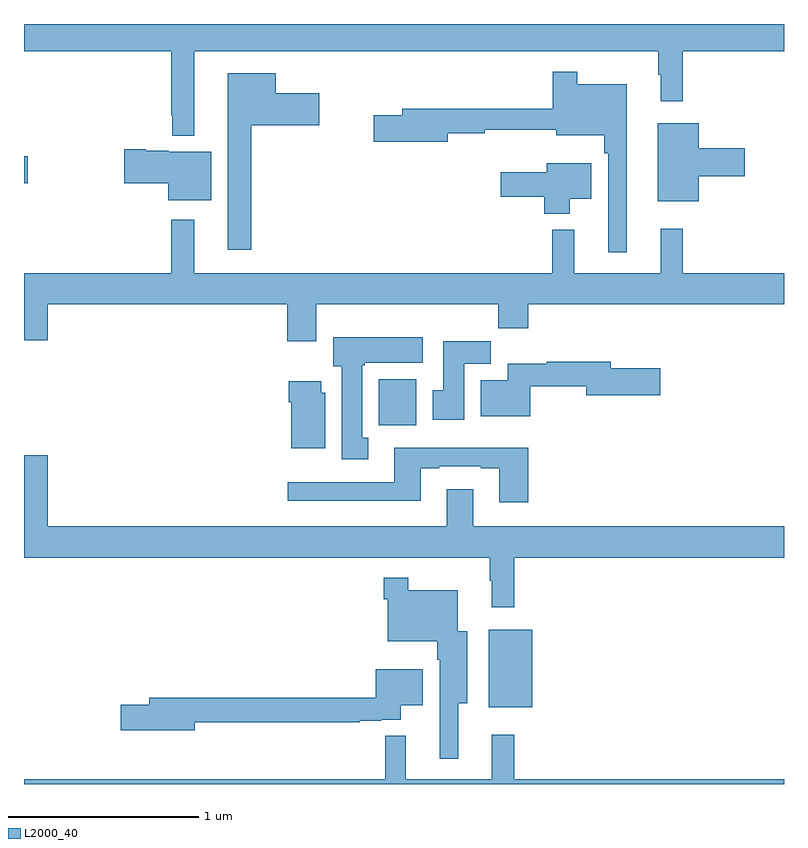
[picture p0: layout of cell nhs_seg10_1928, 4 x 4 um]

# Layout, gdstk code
import gdstk
lib = gdstk.Library(unit=1e-6, precision=1e-09)
def R(c, l, rs):  # rectangles x0, y0, x1, y1
    for r in rs: c.add(gdstk.rectangle(r[:2], r[2:], *l))
def P(c, l, *ps):  # polygons
    for p in ps: c.add(gdstk.Polygon(p, *l))
L2000_40 = (2000, 40)

nhs_seg10_1928 = lib.new_cell('nhs_seg10_1928')
R(nhs_seg10_1928, L2000_40, [(215.447,1256.903,215.674,1257.313), (214.868,1258.388,215.065,1258.63), (213,1259.662,213.019,1259.804)])
P(nhs_seg10_1928, L2000_40, [(213.895,1260.356),(216.339,1260.356),(216.339,1260.233),(216.35,1260.233),(216.35,1260.093),(216.467,1260.093),(216.467,1260.356),(217,1260.356),(217,1260.5),(213,1260.5),(213,1260.356),(213.774,1260.356),(213.774,1260.019),(213.781,1260.019),(213.781,1259.912),(213.895,1259.912)],
  [(216.172,1260.184),(215.911,1260.184),(215.911,1260.25),(215.782,1260.25),(215.782,1260.055),(214.991,1260.055),(214.991,1260.021),(214.842,1260.021),(214.842,1259.879),(215.23,1259.879),(215.23,1259.926),(215.426,1259.926),(215.426,1259.944),(215.801,1259.944),(215.801,1259.915),(216.055,1259.915),(216.055,1259.819),(216.075,1259.819),(216.075,1259.298),(216.172,1259.298)],
  [(214.195,1259.966),(214.555,1259.966),(214.555,1260.136),(214.324,1260.136),(214.324,1260.241),(214.073,1260.241),(214.073,1259.313),(214.195,1259.313)],
  [(216.55,1259.699),(216.793,1259.699),(216.793,1259.846),(216.55,1259.846),(216.55,1259.977),(216.335,1259.977),(216.335,1259.567),(216.55,1259.567)],
  [(213.985,1259.827),(213.762,1259.827),(213.762,1259.833),(213.64,1259.833),(213.64,1259.84),(213.528,1259.84),(213.528,1259.662),(213.758,1259.662),(213.758,1259.573),(213.985,1259.573)],
  [(215.872,1259.579),(215.986,1259.579),(215.986,1259.767),(215.75,1259.767),(215.75,1259.719),(215.508,1259.719),(215.508,1259.59),(215.738,1259.59),(215.738,1259.501),(215.872,1259.501)],
  [(214.537,1259.024),(215.497,1259.024),(215.497,1258.9),(215.654,1258.9),(215.654,1259.024),(217,1259.024),(217,1259.188),(216.467,1259.188),(216.467,1259.422),(216.35,1259.422),(216.35,1259.188),(215.897,1259.188),(215.897,1259.416),(215.779,1259.416),(215.779,1259.188),(213.895,1259.188),(213.895,1259.47),(213.774,1259.47),(213.774,1259.188),(213,1259.188),(213,1258.836),(213.124,1258.836),(213.124,1259.024),(214.385,1259.024),(214.385,1258.83),(214.537,1258.83)],
  [(214.813,1258.322),(214.78,1258.322),(214.78,1258.705),(214.794,1258.705),(214.794,1258.718),(215.098,1258.718),(215.098,1258.852),(214.628,1258.852),(214.628,1258.698),(214.673,1258.698),(214.673,1258.209),(214.813,1258.209)],
  [(215.317,1258.712),(215.456,1258.712),(215.456,1258.831),(215.207,1258.831),(215.207,1258.572),(215.15,1258.572),(215.15,1258.416),(215.317,1258.416)],
  [(215.664,1258.594),(215.96,1258.594),(215.96,1258.547),(216.349,1258.547),(216.349,1258.689),(216.088,1258.689),(216.088,1258.723),(215.752,1258.723),(215.752,1258.712),(215.546,1258.712),(215.546,1258.624),(215.405,1258.624),(215.405,1258.436),(215.664,1258.436)],
  [(214.585,1258.56),(214.564,1258.56),(214.564,1258.621),(214.394,1258.621),(214.394,1258.508),(214.406,1258.508),(214.406,1258.268),(214.585,1258.268)],
  [(215.654,1258.27),(214.949,1258.27),(214.949,1258.089),(214.389,1258.089),(214.389,1257.992),(215.089,1257.992),(215.089,1258.161),(215.185,1258.161),(215.185,1258.173),(215.405,1258.173),(215.405,1258.161),(215.501,1258.161),(215.501,1257.984),(215.654,1257.984)],
  [(215.579,1257.692),(217,1257.692),(217,1257.856),(215.365,1257.856),(215.365,1258.051),(215.225,1258.051),(215.225,1257.856),(213.124,1257.856),(213.124,1258.231),(213,1258.231),(213,1257.692),(215.451,1257.692),(215.451,1257.569),(215.462,1257.569),(215.462,1257.429),(215.579,1257.429)],
  [(215.285,1256.924),(215.332,1256.924),(215.332,1257.304),(215.284,1257.304),(215.284,1257.52),(215.023,1257.52),(215.023,1257.586),(214.894,1257.586),(214.894,1257.473),(214.914,1257.473),(214.914,1257.251),(215.175,1257.251),(215.175,1257.155),(215.187,1257.155),(215.187,1256.634),(215.285,1256.634)],
  [(213.898,1256.826),(214.766,1256.826),(214.766,1256.832),(214.88,1256.832),(214.88,1256.838),(214.984,1256.838),(214.984,1256.915),(215.098,1256.915),(215.098,1257.103),(214.85,1257.103),(214.85,1256.954),(213.659,1256.954),(213.659,1256.918),(213.51,1256.918),(213.51,1256.783),(213.898,1256.783)],
  [(217,1256.524),(215.579,1256.524),(215.579,1256.758),(215.462,1256.758),(215.462,1256.524),(215.009,1256.524),(215.009,1256.753),(214.9,1256.753),(214.9,1256.524),(213,1256.524),(213,1256.5),(217,1256.5)])

lib.write_gds('nhs_seg10_1928.gds')
